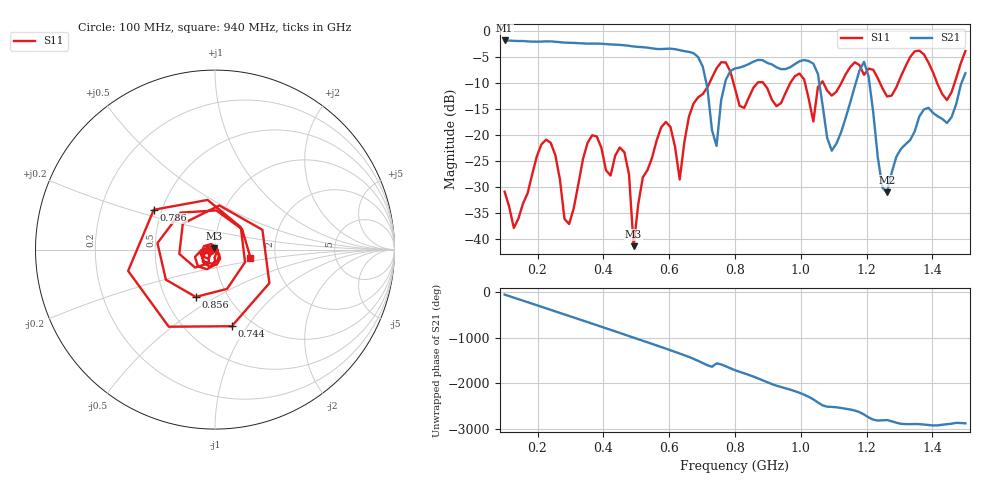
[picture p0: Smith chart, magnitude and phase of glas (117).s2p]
! NanoVNA-App
! Date: 2025-09-25 15:56:23
! Start: 100MHz Stop: 1,5GHz Points: 101
! S-Parameter data: F S11 S21 S12 S22
# Hz S RI R 50
!  Frequency  S11_Real  S11_Imag  S21_Real  S21_Imag  S12_Real  S12_Imag  S22_Real  S22_Imag
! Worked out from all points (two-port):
!   101 points, 100 MHz to 1.5 GHz, reference 50 ohm
!   highest |S21| = -1.80 dB at 100 MHz (marker M1); lowest = -31.1 dB at 1.262 GHz (marker M2)
!   |S21| within 3 dB of the highest: start of sweep to 684.3 MHz
!   lowest |S11| = -41.5 dB at 492 MHz (marker M3), VSWR 1.02, Z = 49.5 + j0.639 ohm
!   |S11| at or under -10 dB: start of sweep to 722.4 MHz; 795.4 MHz to 868.3 MHz (72.85 MHz wide, 8.76 % of centre); 886.1 MHz to 967.9 MHz (81.83 MHz wide, 8.83 % of centre) (the widest 3 of 7)
!   S12 and S22 are empty: the file has one direction only
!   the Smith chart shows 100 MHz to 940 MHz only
!   S11 on the Smith chart (normalised r, x): 100 MHz: 0.95, -0.01; 744 MHz: 0.81, -0.85; 786 MHz: 0.45, +0.24; 856 MHz: 0.71, -0.41; 940 MHz: 1.48, -0.14
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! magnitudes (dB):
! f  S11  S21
! 100 MHz  -31.0  -1.8
! 128 MHz  -38.0  -1.9
! 226 MHz  -20.9  -2.0
! 296 MHz  -37.2  -2.2
! 338 MHz  -24.7  -2.4
! 464 MHz  -23.4  -2.7
! 492 MHz  -41.5  -3.0
! 576 MHz  -18.5  -3.5
! 632 MHz  -28.6  -3.7
! 702 MHz  -12.1  -6.8
! 744 MHz  -7.2  -22.1
! 786 MHz  -7.8  -7.7
! 800 MHz  -11.1  -7.2
! 856 MHz  -10.9  -5.9
! 940 MHz  -13.9  -7.3
! 996 MHz  -8.2  -5.8
! 1.038 GHz  -17.4  -6.3
! 1.094 GHz  -12.4  -23.1
! 1.192 GHz  -8.4  -5.9
! 1.262 GHz  -12.6  -31.1
! 1.276 GHz  -12.4  -27.3
! 1.5 GHz  -3.9  -8.1
